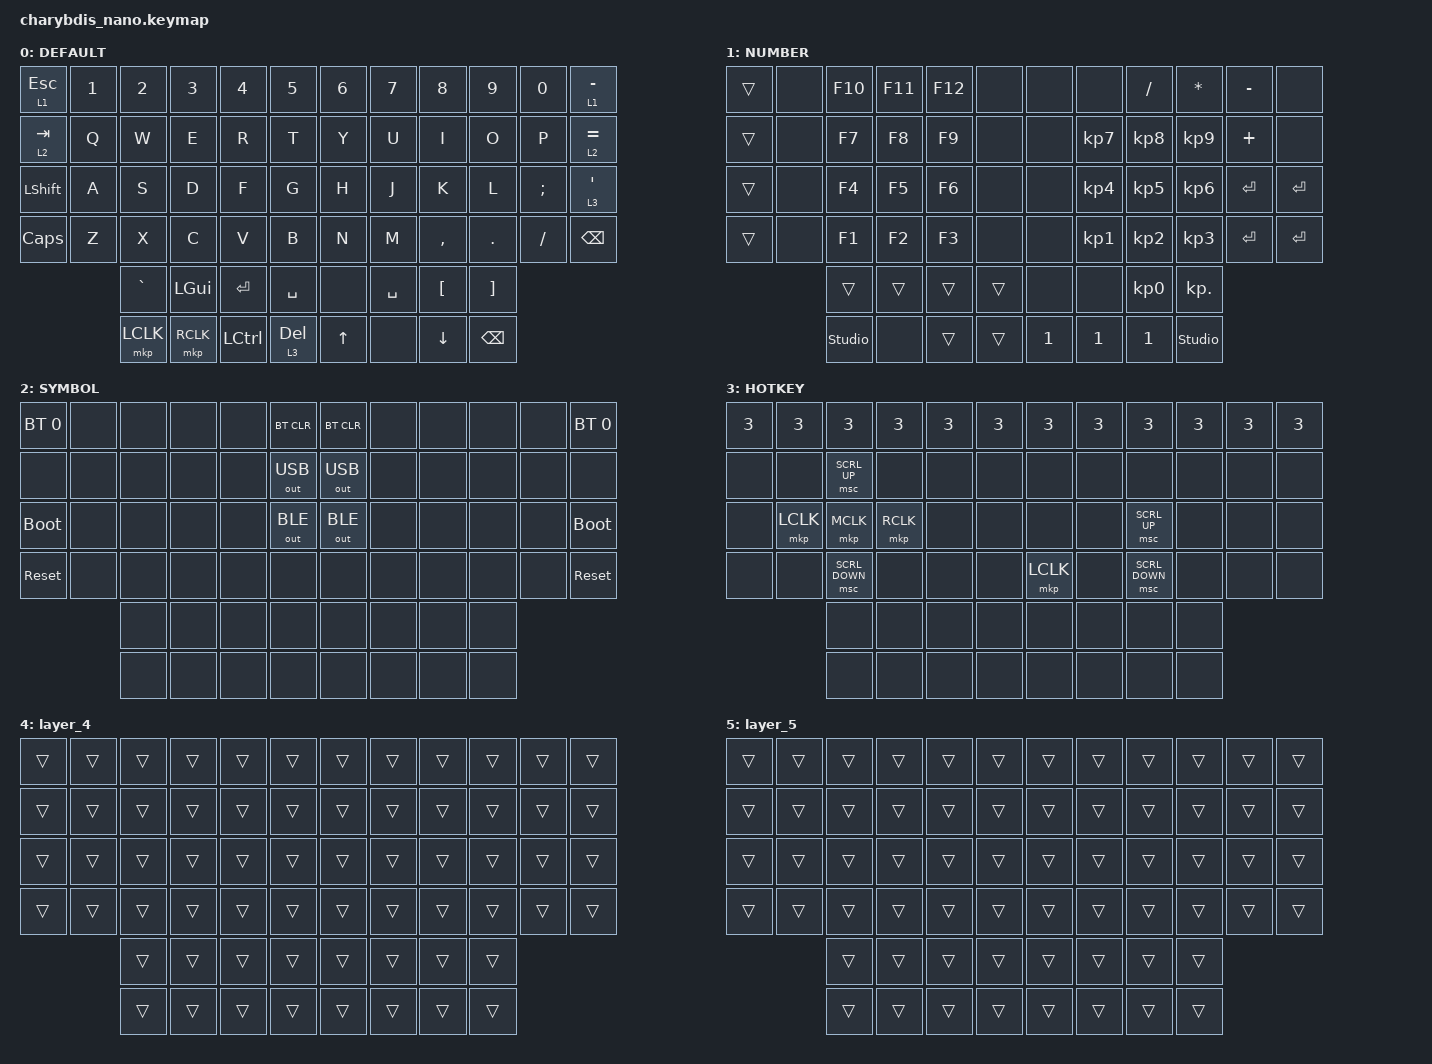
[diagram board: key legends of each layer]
#include <behaviors.dtsi>
#include <dt-bindings/zmk/bt.h>
#include <dt-bindings/zmk/keys.h>
#include <dt-bindings/zmk/outputs.h>
#include <dt-bindings/zmk/pointing.h>
#include <dt-bindings/zmk/pointing.h>

#define DEFAULT 0
#define NUMBER  1
#define SYMBOL  2
#define HOTKEY  3

&lt {
    tapping-term-ms = <200>;
    flavor = "balanced";
    quick-tap-ms = <170>;
};

/ {
    behaviors {
        td0: tap_dance_0 {
            compatible = "zmk,behavior-tap-dance";
            label = "TAP_DANCE_0";
            #binding-cells = <0>;
            tapping-term-ms = <200>;
            bindings = <&kp ESC>, <&kp TAB>;
        };
    };

    macros {
        macro_phone: macro_phone {
            // 1351

            label = "MACRO_PHONE";
            compatible = "zmk,behavior-macro";
            #binding-cells = <0>;
            bindings = <&kp N1 &kp N3 &kp N5 &kp N1>;
        };
    };

    combos {
        compatible = "zmk,combos";

        combo_esc {
            timeout-ms = <50>;
            key-positions = <14 15>;
            bindings = <&mkp LCLK>;
        };

        combo_rgui {
            timeout-ms = <50>;
            key-positions = <26 27>;
            bindings = <&mkp MCLK>;
        };

        combo_LSHFT {
            timeout-ms = <50>;
            key-positions = <38 39>;
            bindings = <&mkp RCLK>;
        };

        combo_2 {
            timeout-ms = <50>;
            key-positions = <>;
            bindings = <&kp N2 >;
        };

        combo_GUI {
            timeout-ms = <50>;
            key-positions = <>;
            bindings = <&tog 1>;
        };
    };

    keymap {
        compatible = "zmk,keymap";

        default_layer {
            label = "DEFAULT";
            bindings = <
&lt 1 ESC  &kp N1  &kp N2     &kp N3     &kp N4     &kp N5        &kp N6  &kp N7     &kp N8     &kp N9         &kp N0    &lt 1 MINUS
&lt 2 TAB  &kp Q   &kp W      &kp E      &kp R      &kp T         &kp Y   &kp U      &kp I      &kp O          &kp P     &lt 2 EQUAL
&kp LSHFT  &kp A   &kp S      &kp D      &kp F      &kp G         &kp H   &kp J      &kp K      &kp L          &kp SEMI  &lt 3 SQT
&kp CAPS   &kp Z   &kp X      &kp C      &kp V      &kp B         &kp N   &kp M      &kp COMMA  &kp DOT        &kp FSLH  &kp BSPC
                   &kp GRAVE  &kp LGUI   &kp RET    &kp SPACE     &none   &kp SPACE  &kp LBKT   &kp RBKT
                   &mkp LCLK  &mkp RCLK  &kp LCTRL  &lt 3 DELETE  &kp UP  &none      &kp DOWN   &kp BACKSPACE
            >;
        };

        number_layer {
            label = "NUMBER";
            bindings = <
&trans  &none  &kp F10         &kp F11  &kp F12  &none   &none   &none      &kp FSLH   &kp STAR        &kp MINUS  &none
&trans  &none  &kp F7          &kp F8   &kp F9   &none   &none   &kp KP_N7  &kp KP_N8  &kp KP_N9       &kp PLUS   &none
&trans  &none  &kp F4          &kp F5   &kp F6   &none   &none   &kp KP_N4  &kp KP_N5  &kp KP_N6       &kp ENTER  &kp RET
&trans  &none  &kp F1          &kp F2   &kp F3   &none   &none   &kp KP_N1  &kp KP_N2  &kp KP_N3       &kp ENTER  &kp ENTER
               &trans          &trans   &trans   &trans  &none   &none      &kp KP_N0  &kp KP_DOT
               &studio_unlock  &none    &trans   &trans  &kp N1  &kp N1     &kp N1     &studio_unlock
            >;
        };

        symbol_layer {
            label = "SYMBOL";
            bindings = <
&bt BT_SEL 0  &none  &none  &none  &none  &bt BT_CLR    &bt BT_CLR    &none  &none  &none  &none  &bt BT_SEL 0
&none         &none  &none  &none  &none  &out OUT_USB  &out OUT_USB  &none  &none  &none  &none  &none
&bootloader   &none  &none  &none  &none  &out OUT_BLE  &out OUT_BLE  &none  &none  &none  &none  &bootloader
&sys_reset    &none  &none  &none  &none  &none         &none         &none  &none  &none  &none  &sys_reset
                     &none  &none  &none  &none         &none         &none  &none  &none
                     &none  &none  &none  &none         &none         &none  &none  &none
            >;
        };

        hotkey_layer {
            label = "HOTKEY";
            bindings = <
&kp N3  &kp N3     &kp N3          &kp N3     &kp N3  &kp N3  &kp N3     &kp N3  &kp N3          &kp N3  &kp N3  &kp N3
&none   &none      &msc SCRL_UP    &none      &none   &none   &none      &none   &none           &none   &none   &none
&none   &mkp LCLK  &mkp MCLK       &mkp RCLK  &none   &none   &none      &none   &msc SCRL_UP    &none   &none   &none
&none   &none      &msc SCRL_DOWN  &none      &none   &none   &mkp LCLK  &none   &msc SCRL_DOWN  &none   &none   &none
                   &none           &none      &none   &none   &none      &none   &none           &none
                   &none           &none      &none   &none   &none      &none   &none           &none
            >;
        };

        layer_4 {
            bindings = <
&trans  &trans  &trans  &trans  &trans  &trans  &trans  &trans  &trans  &trans  &trans  &trans
&trans  &trans  &trans  &trans  &trans  &trans  &trans  &trans  &trans  &trans  &trans  &trans
&trans  &trans  &trans  &trans  &trans  &trans  &trans  &trans  &trans  &trans  &trans  &trans
&trans  &trans  &trans  &trans  &trans  &trans  &trans  &trans  &trans  &trans  &trans  &trans
                &trans  &trans  &trans  &trans  &trans  &trans  &trans  &trans
                &trans  &trans  &trans  &trans  &trans  &trans  &trans  &trans
            >;
        };

        layer_5 {
            bindings = <
&trans  &trans  &trans  &trans  &trans  &trans  &trans  &trans  &trans  &trans  &trans  &trans
&trans  &trans  &trans  &trans  &trans  &trans  &trans  &trans  &trans  &trans  &trans  &trans
&trans  &trans  &trans  &trans  &trans  &trans  &trans  &trans  &trans  &trans  &trans  &trans
&trans  &trans  &trans  &trans  &trans  &trans  &trans  &trans  &trans  &trans  &trans  &trans
                &trans  &trans  &trans  &trans  &trans  &trans  &trans  &trans
                &trans  &trans  &trans  &trans  &trans  &trans  &trans  &trans
            >;
        };
    };
};
